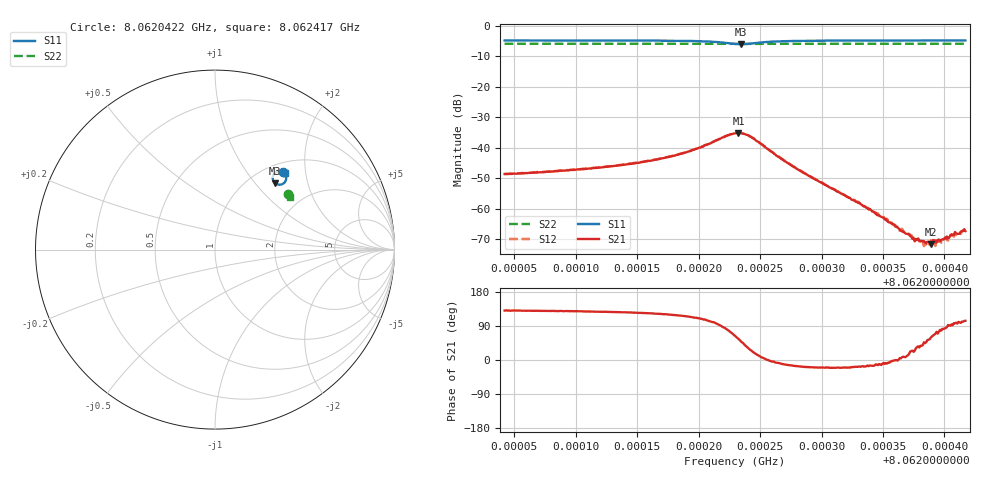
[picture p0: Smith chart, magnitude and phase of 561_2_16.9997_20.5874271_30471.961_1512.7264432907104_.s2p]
#  HZ  S  RI  R  50.00
! Rohde & Schwarz Vector Network Analyzer
! Rohde-Schwarz,ZNB20-2Port,1311601062101988,3.16
! Created: UTC 3/20/2024, 11:17:12 PM
! freq[Hz]  re:S11  im:S11  re:S21  im:S21  re:S12  im:S12  re:S22  im:S22
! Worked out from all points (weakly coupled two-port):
!   401 points, 8.0620422 GHz to 8.062417 GHz, reference 50 ohm
!   highest |S21| = -35.15 dB at 8.0622324 GHz (marker M1); lowest = -71.5 dB at 8.0623889 GHz (marker M2)
!   lowest |S11| = -6.0 dB at 8.0622343 GHz (marker M3), VSWR 2.99, Z = 64.9 + j63.9 ohm
!   |S11| at or under -10 dB: nowhere
!   |S22| runs from -5.9 to -5.9 dB; largest |S21 - S12| = 0.0013
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8.06204216e9  0.3797 0.4331  -0.0024 0.00282  -0.00224 0.00298  0.4043 0.309
8.06210495e9  0.3856 0.4271  -0.00279 0.00349  -0.00257 0.00367  0.4065 0.3057
8.06213963e9  0.3893 0.4223  -0.00308 0.00429  -0.00286 0.00449  0.4078 0.3039
8.06216774e9  0.3932 0.4155  -0.00345 0.00553  -0.00314 0.00579  0.4089 0.3022
8.06219492e9  0.3967 0.4015  -0.00352 0.0085  -0.00305 0.00864  0.4097 0.3002
8.06221554e9  0.3893 0.3766  -0.00104 0.0134  -0.000303 0.0137  0.4097 0.2982
8.0622296e9  0.3524 0.3619  0.00767 0.0155  0.00851 0.0151  0.4083 0.2974
8.06223241e9  0.3416 0.3654  0.00983 0.0145  0.0108 0.0139  0.408 0.2975
8.06223428e9  0.3351 0.3697  0.0112 0.0133  0.0121 0.0127  0.408 0.2977
8.06224366e9  0.3215 0.4025  0.0134 0.00566  0.0138 0.00486  0.4079 0.299
8.06226896e9  0.3519 0.4359  0.00615 -0.00121  0.00613 -0.00156  0.4106 0.2988
8.06229239e9  0.3671 0.4359  0.00305 -0.00106  0.00304 -0.00124  0.4121 0.2976
8.06233082e9  0.378 0.4319  0.00119 -0.000366  0.00118 -0.000424  0.4138 0.2952
8.06235518e9  0.382 0.4297  0.000589 -7.54e-05  0.000636 -0.000123  0.4146 0.2939
8.06235987e9  0.3827 0.4293  0.000537 -4.89e-06  0.00051 -3.12e-05  0.415 0.2937
8.06237112e9  0.3841 0.4285  0.000372 0.000104  0.00036 8.73e-05  0.4154 0.2932
8.0623758e9  0.3846 0.428  0.000264 0.000121  0.000289 0.000104  0.4155 0.2928
8.0623833e9  0.3855 0.4274  0.000202 0.000215  0.000195 0.000145  0.4157 0.2925
8.06238892e9  0.386 0.427  0.000135 0.000228  0.000174 0.000246  0.4159 0.2922
8.06239736e9  0.3868 0.4263  6.69e-05 0.000302  6.61e-05 0.00027  0.4163 0.2917
8.06240579e9  0.3876 0.4258  -2.74e-05 0.00038  9.75e-06 0.000373  0.4166 0.2914
8.06241704e9  0.3887 0.425  -9.96e-05 0.000419  -9.62e-05 0.000402  0.417 0.2906
